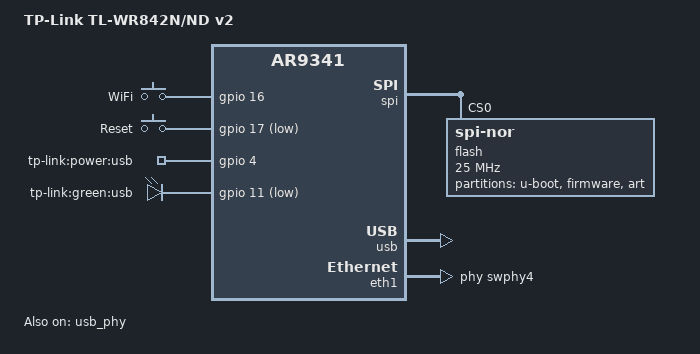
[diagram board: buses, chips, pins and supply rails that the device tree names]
// SPDX-License-Identifier: GPL-2.0-or-later OR MIT

#include "ar9341_tplink.dtsi"

/ {
	model = "TP-Link TL-WR842N/ND v2";
	compatible = "tplink,tl-wr842n-v2", "qca,ar9341";

	keys {
		compatible = "gpio-keys";

		rfkill {
			label = "WiFi";
			linux,code = <KEY_RFKILL>;
			gpios = <&gpio 16 GPIO_ACTIVE_HIGH>;
			debounce-interval = <60>;
		};

		reset {
			label = "Reset";
			linux,code = <KEY_RESTART>;
			gpios = <&gpio 17 GPIO_ACTIVE_LOW>;
			debounce-interval = <60>;
		};
	};

	gpio-export {
		compatible = "gpio-export";

		gpio_usb_power {
			gpio-export,name = "tp-link:power:usb";
			gpio-export,output = <1>;
			gpios = <&gpio 4 GPIO_ACTIVE_HIGH>;
		};
	};
};

&leds {
	usb {
		label = "tp-link:green:usb";
		gpios = <&gpio 11 GPIO_ACTIVE_LOW>;
		trigger-sources = <&hub_port>;
		linux,default-trigger = "usbport";
	};
};

&spi {
	status = "okay";

	num-cs = <1>;

	flash@0 {
		compatible = "jedec,spi-nor";
		reg = <0>;
		spi-max-frequency = <25000000>;

		partitions {
			compatible = "fixed-partitions";
			#address-cells = <1>;
			#size-cells = <1>;

			uboot: partition@0 {
				label = "u-boot";
				reg = <0x000000 0x020000>;
				read-only;
			};

			partition@20000 {
				compatible = "tplink,firmware";
				label = "firmware";
				reg = <0x020000 0x7d0000>;
			};

			art: partition@7f0000 {
				label = "art";
				reg = <0x7f0000 0x010000>;
				read-only;
			};
		};
	};
};

&usb {
	#address-cells = <1>;
	#size-cells = <0>;
	status = "okay";

	hub_port: port@1 {
		reg = <1>;
		#trigger-source-cells = <0>;
	};
};

&usb_phy {
	status = "okay";
};

&eth1 {
	phy-handle = <&swphy4>;
};
